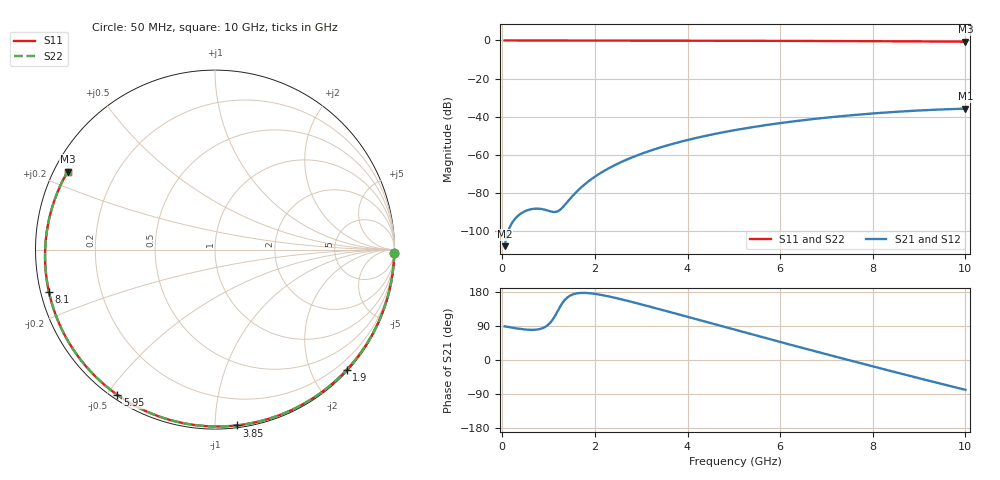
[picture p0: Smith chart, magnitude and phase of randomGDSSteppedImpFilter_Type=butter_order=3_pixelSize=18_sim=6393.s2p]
! freq	dB(S11)	phase(S11)	dB(S12)	phase(S12)
!  dB(S21)	phase(S21)	dB(S22)	phase(S22)
!S-par simulation data
#  GHz  S  DB  R 50
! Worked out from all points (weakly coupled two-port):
!   200 points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, 50 MHz to 10 GHz, reference 50 ohm
!   highest |S21| = -35.80 dB at 10 GHz (marker M1); lowest = -108.0 dB at 50 MHz (marker M2)
!   lowest |S11| = -0.6 dB at 10 GHz (marker M3), VSWR 27.25, Z = 1.95 + j12.4 ohm
!   |S11| at or under -10 dB: nowhere
!   |S22| runs from -0.6 to 0.0 dB; largest |S21 - S12| = 0
!   S11 on the Smith chart (normalised r, x): 50 MHz: open; 1.9 GHz: 0.02, -2.58; 3.85 GHz: 0.01, -1.13; 5.95 GHz: 0.02, -0.53; 8.1 GHz: 0.02, -0.12; 10 GHz: 0.04, +0.25
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0.05  -0.00 -1.1  -107.96 88.9  -107.96 88.9  -0.00 -1.1
0.8  -0.02 -18.0  -88.31 81.5  -88.31 81.5  -0.02 -18.0
1.55  -0.04 -34.7  -80.76 174.1  -80.76 174.1  -0.04 -34.7
1.6  -0.05 -35.8  -79.50 175.6  -79.50 175.6  -0.05 -35.8
1.75  -0.05 -39.1  -76.11 177.1  -76.11 177.1  -0.05 -39.1
1.9  -0.05 -42.3  -73.21 176.1  -73.21 176.1  -0.05 -42.3
2.2  -0.06 -48.8  -68.43 170.3  -68.43 170.3  -0.06 -48.8
2.55  -0.07 -56.2  -64.01 160.8  -64.01 160.8  -0.07 -56.2
2.95  -0.08 -64.6  -59.96 148.5  -59.96 148.5  -0.08 -64.6
3.4  -0.10 -73.9  -56.25 133.9  -56.25 133.9  -0.10 -73.9
3.85  -0.11 -83.0  -53.16 119.0  -53.16 119.0  -0.11 -83.0
4.45  -0.14 -94.9  -49.75 98.9  -49.75 98.9  -0.14 -94.9
5.05  -0.17 -106.6  -46.94 79.0  -46.94 79.0  -0.17 -106.6
5.95  -0.22 -123.9  -43.54 49.2  -43.54 49.2  -0.22 -123.9
6.7  -0.27 -138.3  -41.29 24.8  -41.29 24.8  -0.27 -138.3
7.4  -0.33 -151.9  -39.56 2.3  -39.56 2.3  -0.33 -151.9
8.1  -0.40 -165.8  -38.14 -19.9  -38.14 -19.9  -0.40 -165.8
8.35  -0.43 -171.0  -37.70 -27.8  -37.70 -27.8  -0.43 -171.0
8.8  -0.48 179.5  -37.01 -41.9  -37.01 -41.9  -0.48 179.5
9.2  -0.53 170.8  -36.51 -54.3  -36.51 -54.3  -0.53 170.8
9.6  -0.58 161.6  -36.10 -66.6  -36.10 -66.6  -0.58 161.6
10  -0.64 152.1  -35.80 -78.6  -35.80 -78.6  -0.64 152.1
